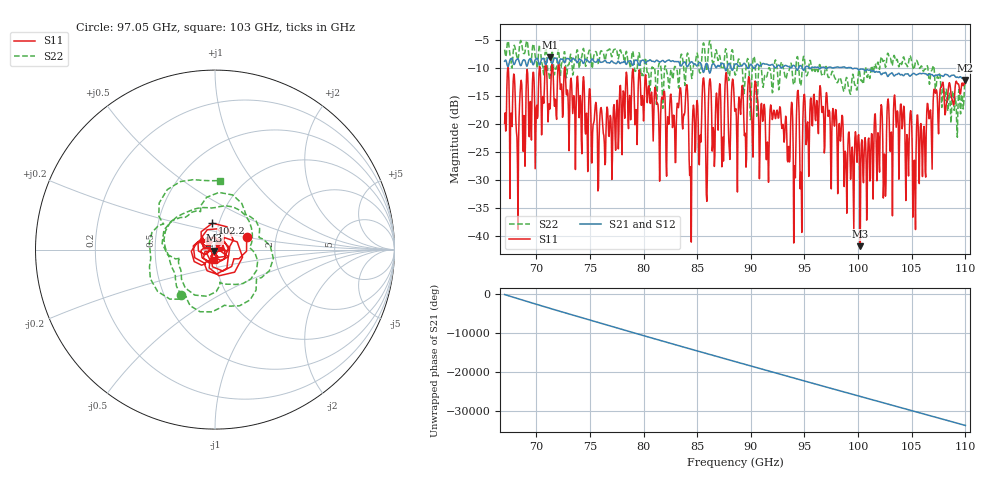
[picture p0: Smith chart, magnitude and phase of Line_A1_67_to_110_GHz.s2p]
#  HZ  S  MA  R  50.00
! Rohde & Schwarz ZVA67 4Ports - Version 4.11 - 1305.7002k04 SN: 101051
! Date: 2023-09-13 16:57:46
! Measurements: S11 S21 S12 S22
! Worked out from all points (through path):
!   860 points, 67.05 GHz to 110 GHz, reference 50 ohm
!   highest |S21| = -8.14 dB at 71.25 GHz (marker M1); lowest = -12.2 dB at 110 GHz (marker M2)
!   lowest |S11| = -41.9 dB at 100.2 GHz (marker M3), VSWR 1.02, Z = 49.6 - j0.678 ohm
!   |S11| at or under -10 dB: 67.38 GHz to 70.29 GHz (2.912 GHz wide, 4.23 % of centre); 71.54 GHz to 72.02 GHz (481.6 MHz wide, 0.671 % of centre); 72.66 GHz to end of sweep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
!   |S22| runs from -22.4 to -5.1 dB; largest |S21 - S12| = 0.045
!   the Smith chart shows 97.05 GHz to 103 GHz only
!   S11 on the Smith chart (normalised r, x): 97.05 GHz: 1.41, +0.21; 102.2 GHz: 0.93, +0.28; 103 GHz: 0.99, -0.11
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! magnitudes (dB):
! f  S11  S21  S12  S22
! 67.05 GHz  -19.9  -8.8  -8.8  -6.7
! 71.25 GHz  -17.4  -8.1  -8.1  -12.2
! 74.25 GHz  -25.4  -8.7  -8.7  -8.0
! 81.4 GHz  -18.2  -8.9  -8.8  -9.6
! 83.95 GHz  -14.0  -9.3  -9.3  -10.5
! 84.4 GHz  -30.4  -9.0  -9.0  -10.2
! 85.55 GHz  -12.0  -10.8  -10.8  -5.7
! 85.9 GHz  -33.9  -9.2  -9.2  -10.6
! 88.55 GHz  -17.7  -9.3  -9.3  -11.3
! 90.5 GHz  -13.5  -9.5  -9.5  -14.3
! 94.7 GHz  -29.4  -9.7  -9.6  -12.7
! 95.7 GHz  -20.3  -9.9  -9.8  -10.5
! 97.05 GHz  -14.4  -10.1  -10.1  -10.0
! 100.2 GHz  -41.9  -10.3  -10.2  -11.6
! 102.2 GHz  -16.6  -11.2  -11.2  -8.1
! 102.8 GHz  -16.6  -11.4  -11.4  -7.8
! 103 GHz  -24.9  -11.1  -11.1  -8.3
! 104.1 GHz  -20.9  -11.2  -11.2  -9.2
! 105.2 GHz  -26.5  -11.0  -11.0  -10.0
! 107.2 GHz  -14.5  -11.3  -11.3  -14.2
! 110 GHz  -12.4  -12.2  -12.1  -12.7
! 110 GHz  -12.8  -12.1  -12.0  -12.8
